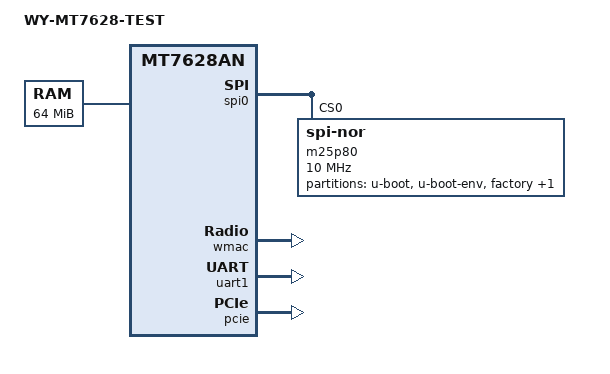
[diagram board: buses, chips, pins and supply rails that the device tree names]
/dts-v1/;

#include "mt7628an.dtsi"

#include <dt-bindings/gpio/gpio.h>
#include <dt-bindings/input/input.h>

/{
	compatible = "wylink,wy-mt7628-test", "mediatek,mt7628an-soc";
	model = "WY-MT7628-TEST";

	chosen {
		bootargs = "console=ttyS0,115200";
	};

	memory@0 {
		device_type = "memory";
		reg = <0x0 0x4000000>;
	};
};

&pinctrl {
	state_default: pinctrl0 {
		gpio {
			ralink,group = "i2c";
			ralink,function = "gpio";
		};
	};
};

&spi0 {
	status = "okay";

	m25p80@0 {
		#address-cells = <1>;
		#size-cells = <1>;
		compatible = "jedec,spi-nor";
		reg = <0>;
		spi-max-frequency = <10000000>;
		m25p,chunked-io = <32>;

		partition@0 {
			label = "u-boot";
			reg = <0x0 0x30000>;
			read-only;
		};

		partition@30000 {
			label = "u-boot-env";
			reg = <0x30000 0x10000>;
			read-only;
		};

		factory: partition@40000 {
			 label = "factory";
			 reg = <0x40000 0x10000>;
			 read-only;
		};

		partition@50000 {
			 label = "firmware";
			 reg = <0x50000 0x7b0000>;
		};
	};
};

&ethernet {
	mtd-mac-address = <&factory 0x28>;
};

&wmac {
	status = "okay";
	ralink,mtd-eeprom = <&factory 0x0>;
};

&uart1 {
	status = "okay";
};

&pcie {
	status = "okay";
	pcie-bridge {
		mt76@0,0 {
			reg = <0x0000 0 0 0 0>;
			device_type = "pci";
			mediatek,mtd-eeprom = <&factory 0x8000>;
			ieee80211-freq-limit = <5000000 6000000>;
		};
	};
};
